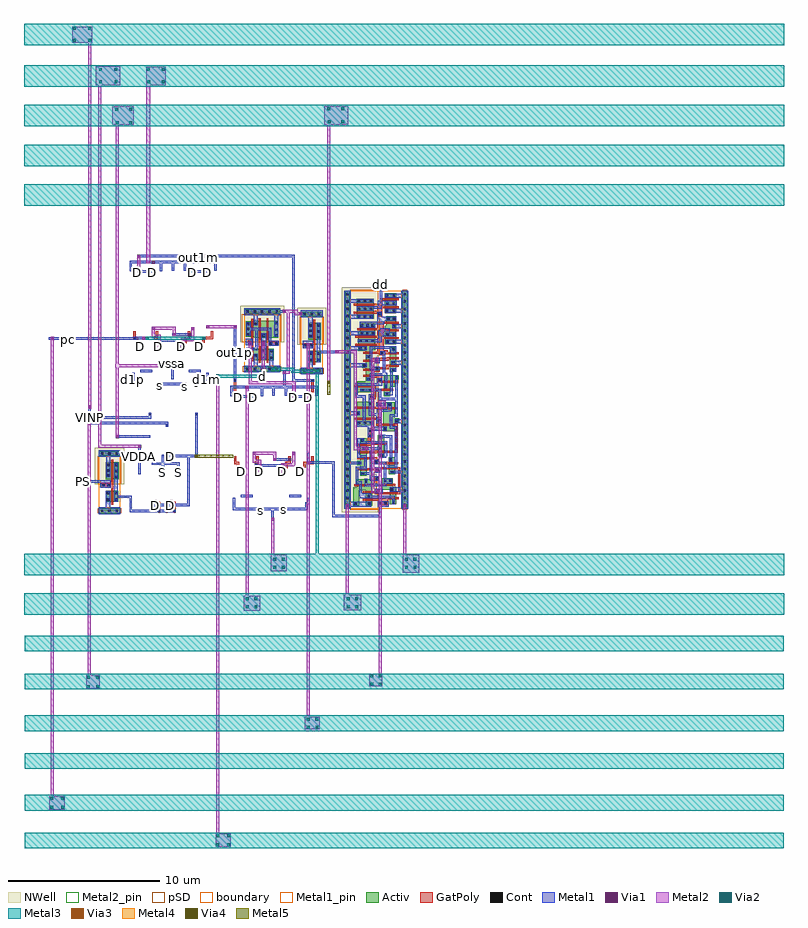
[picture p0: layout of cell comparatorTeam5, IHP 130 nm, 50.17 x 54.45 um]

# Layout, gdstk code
from math import pi, radians
import gdstk
lib = gdstk.Library(unit=1e-6, precision=1e-09)
def R(c, l, rs):  # rectangles x0, y0, x1, y1
    for r in rs: c.add(gdstk.rectangle(r[:2], r[2:], *l))
def A(c, l, x, y, w, h, nx, ny, dx, dy):  # array of equal rectangles
    R(c, l, [(x+i*dx, y+j*dy, x+i*dx+w, y+j*dy+h) for i in range(nx) for j in range(ny)])
def P(c, l, *ps):  # polygons
    for p in ps: c.add(gdstk.Polygon(p, *l))
Activ = (1, 0)
GatPoly = (5, 0)
Cont = (6, 0)
Metal1 = (8, 0)
Metal1_pin = (8, 2)
Metal2 = (10, 0)
Metal2_pin = (10, 2)
pSD = (14, 0)
Via1 = (19, 0)
Via2 = (29, 0)
Metal3 = (30, 0)
NWell = (31, 0)
Via3 = (49, 0)
Metal4 = (50, 0)
Via4 = (66, 0)
Metal5 = (67, 0)
boundary = (189, 4)

pmos = lib.new_cell('pmos')

sg13g2_buf_2 = lib.new_cell('sg13g2_buf_2')
R(sg13g2_buf_2, Activ, [(0,-0.15,2.4,0.15), (0,3.63,2.4,3.93)])
P(sg13g2_buf_2, Activ, [(0.445,0.59),(0.445,1.33),(2.275,1.33),(2.275,0.69),(1.735,0.69),(1.735,0.59)],
  [(0.13,2.06),(0.13,3.18),(1.735,3.18),(1.735,3.135),(2.275,3.135),(2.275,2.135),(1.735,2.135),(1.735,2.06)])
P(sg13g2_buf_2, GatPoly, [(0.785,0.41),(0.785,1.52),(0.105,1.52),(0.105,1.85),(0.785,1.85),(0.785,3.36),(0.915,3.36),(0.915,1.85),(1.295,1.85),(1.295,3.36),(1.425,3.36),(1.425,0.41),(1.295,0.41),(1.295,1.52),(0.915,1.52),(0.915,0.41)],
  [(1.805,0.51),(1.805,3.315),(1.935,3.315),(1.935,1.9),(2.155,1.9),(2.155,1.57),(1.935,1.57),(1.935,0.51)])
A(sg13g2_buf_2, Cont, 0.16, -0.08, 0.16, 0.16, 3, 1, 0.48, 0)
A(sg13g2_buf_2, Cont, 2.045, 2.205, 0.16, 0.16, 1, 3, 0, 0.34)
R(sg13g2_buf_2, Cont, [(0.16,-0.08,0.32,0.08), (1.12,-0.08,1.28,0.08), (1.6,-0.08,1.76,0.08), (1.6,-0.08,1.76,0.08), (2.08,-0.08,2.24,0.08), (2.08,-0.08,2.24,0.08), (0.515,0.66,0.675,0.82), (1.025,0.66,1.185,0.82), (2.045,0.76,2.205,0.92), (1.535,0.815,1.695,0.975), (0.515,1.095,0.675,1.255), (1.025,1.095,1.185,1.255), (2.045,1.1,2.205,1.26), (0.19,1.605,0.35,1.765), (0.53,1.605,0.69,1.765), (1.91,1.655,2.07,1.815), (1.025,2.13,1.185,2.29), (0.2,2.135,0.36,2.295), (0.2,2.51,0.36,2.67), (1.535,2.905,1.695,3.065), (0.2,2.945,0.36,3.105), (0.16,3.7,0.32,3.86), (0.16,3.7,0.32,3.86), (0.64,3.7,0.8,3.86), (0.64,3.7,0.8,3.86), (1.12,3.7,1.28,3.86), (1.12,3.7,1.28,3.86), (1.6,3.7,1.76,3.86), (1.6,3.7,1.76,3.86), (2.08,3.7,2.24,3.86), (2.08,3.7,2.24,3.86)])
R(sg13g2_buf_2, Metal1, [(0.945,0.635,1.275,2.37), (1.835,1.57,2.275,2)])
P(sg13g2_buf_2, Metal1, [(0,-0.22),(0,0.22),(0.465,0.22),(0.465,1.275),(0.725,1.275),(0.725,0.22),(1.485,0.22),(1.485,0.995),(1.745,0.995),(1.745,0.22),(2.4,0.22),(2.4,-0.22)],
  [(1.995,0.72),(1.995,1.23),(1.495,1.23),(1.495,2.55),(0.765,2.55),(0.765,1.52),(0.105,1.52),(0.105,1.85),(0.605,1.85),(0.605,2.71),(1.97,2.71),(1.97,3.1),(2.26,3.1),(2.26,2.18),(1.97,2.18),(1.97,2.55),(1.655,2.55),(1.655,1.39),(2.255,1.39),(2.255,0.72)],
  [(0.15,2.12),(0.15,3.56),(0,3.56),(0,4),(2.4,4),(2.4,3.56),(1.745,3.56),(1.745,2.895),(1.485,2.895),(1.485,3.56),(0.41,3.56),(0.41,2.12)])
R(sg13g2_buf_2, Metal1_pin, [(0,-0.22,2.4,0.22), (0.945,0.635,1.275,2.37), (1.835,1.57,2.275,2), (0,3.56,2.4,4)])
R(sg13g2_buf_2, pSD, [(-0.07,-0.18,2.47,0.18), (-0.07,1.76,2.56,3.6)])
R(sg13g2_buf_2, NWell, [(-0.24,1.75,2.64,4.17)])
R(sg13g2_buf_2, boundary, [(0,0,2.4,3.78)])
sg13g2_buf_2.add(gdstk.Label('A', (2.055,1.78), layer=8, texttype=25))
sg13g2_buf_2.add(gdstk.Label('X', (1.125,1.68), layer=8, texttype=25))
sg13g2_buf_2.add(gdstk.Label('VDD', (0.965,3.78), layer=8, texttype=25))
sg13g2_buf_2.add(gdstk.Label('VSS', (1.175,-0.005), layer=8, texttype=25))

nmos = lib.new_cell('nmos')

ptap_1 = lib.new_cell('ptap$1')

nmos_1 = lib.new_cell('nmos$1')

ntap1 = lib.new_cell('ntap1')

cmim_7 = lib.new_cell('cmim$7')

sg13g2_inv_1 = lib.new_cell('sg13g2_inv_1')
R(sg13g2_inv_1, Activ, [(0,-0.15,1.44,0.15), (0.475,0.59,1.305,1.33), (0.485,2.075,1.315,3.195), (0,3.63,1.44,3.93)])
P(sg13g2_inv_1, GatPoly, [(0.825,0.41),(0.825,1.52),(0.145,1.52),(0.145,1.85),(0.835,1.85),(0.835,3.375),(0.965,3.375),(0.965,1.52),(0.955,1.52),(0.955,0.41)])
A(sg13g2_inv_1, Cont, 0.56, 2.235, 0.16, 0.16, 1, 3, 0, 0.35)
R(sg13g2_inv_1, Cont, [(0.16,-0.08,0.32,0.08), (0.16,-0.08,0.32,0.08), (0.64,-0.08,0.8,0.08), (0.64,-0.08,0.8,0.08), (1.12,-0.08,1.28,0.08), (1.12,-0.08,1.28,0.08), (0.55,0.67,0.71,0.83), (1.07,0.67,1.23,0.83), (0.55,1.095,0.71,1.255), (1.07,1.095,1.23,1.255), (0.23,1.605,0.39,1.765), (0.585,1.605,0.745,1.765), (1.08,2.155,1.24,2.315), (1.08,2.54,1.24,2.7), (1.075,2.93,1.235,3.09), (0.16,3.7,0.32,3.86), (0.16,3.7,0.32,3.86), (0.64,3.7,0.8,3.86), (0.64,3.7,0.8,3.86), (1.12,3.7,1.28,3.86), (1.12,3.7,1.28,3.86)])
R(sg13g2_inv_1, Metal1, [(1.045,0.595,1.275,3.175), (0.125,1.52,0.815,2)])
P(sg13g2_inv_1, Metal1, [(0,-0.22),(0,0.22),(0.485,0.22),(0.485,1.295),(0.785,1.295),(0.785,0.22),(1.44,0.22),(1.44,-0.22)],
  [(0.505,2.205),(0.505,3.56),(0,3.56),(0,4),(1.44,4),(1.44,3.56),(0.78,3.56),(0.78,2.205)])
R(sg13g2_inv_1, Metal1_pin, [(0,-0.22,1.44,0.22), (1.045,0.595,1.275,3.175), (0.125,1.52,0.815,2), (0,3.56,1.44,4)])
R(sg13g2_inv_1, pSD, [(-0.07,-0.18,1.51,0.18), (-0.07,1.76,1.51,3.6)])
R(sg13g2_inv_1, NWell, [(-0.24,1.75,1.68,4.17)])
R(sg13g2_inv_1, boundary, [(0,0,1.44,3.78)])
sg13g2_inv_1.add(gdstk.Label('VDD', (0.705,3.78), layer=8, texttype=25))
sg13g2_inv_1.add(gdstk.Label('VSS', (0.72,-0.02), layer=8, texttype=25))
sg13g2_inv_1.add(gdstk.Label('A', (0.485,1.76), layer=8, texttype=25))
sg13g2_inv_1.add(gdstk.Label('Y', (1.17,1.69), layer=8, texttype=25))

pmos_1 = lib.new_cell('pmos$1')

sg13g2_dfrbp_2 = lib.new_cell('sg13g2_dfrbp_2')
R(sg13g2_dfrbp_2, Activ, [(0,-0.15,14.4,0.15), (9.03,0.57,10.66,0.99), (12.91,0.57,14.23,1.31), (2.28,0.635,3.4,1.055), (12.535,2.06,13.86,3.18), (0,3.63,14.4,3.93)])
P(sg13g2_dfrbp_2, Activ, [(0.19,2.16),(0.19,2.58),(1.24,2.58),(1.24,3.01),(0.19,3.01),(0.19,3.395),(1.415,3.395),(1.415,3.16),(1.96,3.16),(1.96,2.16)],
  [(0.3,0.57),(0.3,0.99),(1.245,0.99),(1.245,1.535),(2,1.535),(2,0.795),(1.445,0.795),(1.445,0.57)],
  [(2.19,2.525),(2.19,2.945),(2.88,2.945),(2.88,3.14),(3.18,3.14),(3.18,2.945),(4.645,2.945),(4.645,2.525)],
  [(3.365,1.36),(3.365,1.66),(3.475,1.66),(3.475,1.78),(3.905,1.78),(3.905,1.79),(4.145,1.79),(4.145,1.78),(4.86,1.78),(4.86,1.36)],
  [(5.53,2.05),(5.53,3.17),(6.075,3.17),(6.075,3.205),(6.53,3.205),(6.53,3.17),(7.07,3.17),(7.07,2.05)],
  [(5.68,0.365),(5.68,0.675),(5.135,0.675),(5.135,1.415),(7.045,1.415),(7.045,0.675),(5.98,0.675),(5.98,0.365)],
  [(8.52,0.39),(8.52,0.635),(8.06,0.635),(8.06,0.955),(7.445,0.955),(7.445,1.375),(8.82,1.375),(8.82,0.39)],
  [(10.47,1.96),(10.47,2.145),(7.695,2.145),(7.695,3.145),(8.415,3.145),(8.415,2.565),(9.31,2.565),(9.31,2.8),(9.61,2.8),(9.61,2.565),(10.43,2.565),(10.43,3.08),(11.715,3.08),(11.715,2.96),(12.26,2.96),(12.26,1.96)],
  [(10.87,0.57),(10.87,1.31),(12.08,1.31),(12.08,1.21),(12.7,1.21),(12.7,0.57)])
P(sg13g2_dfrbp_2, GatPoly, [(0.64,0.39),(0.64,1.1),(0.22,1.1),(0.22,1.77),(0.53,1.77),(0.53,2.76),(0.66,2.76),(0.66,2.085),(0.71,2.085),(0.71,1.25),(0.77,1.25),(0.77,0.39)],
  [(0.95,0.295),(0.95,1.98),(1.04,1.98),(1.04,2.76),(1.17,2.76),(1.17,1.98),(1.28,1.98),(1.28,1.65),(1.08,1.65),(1.08,0.43),(2.62,0.43),(2.62,1.645),(2.385,1.645),(2.385,1.975),(2.54,1.975),(2.54,3.125),(2.67,3.125),(2.67,1.975),(2.75,1.975),(2.75,0.295)],
  [(2.93,0.425),(2.93,1.25),(2.955,1.25),(2.955,1.715),(2.935,1.715),(2.935,2.045),(3.275,2.045),(3.275,3.125),(3.405,3.125),(3.405,1.83),(3.285,1.83),(3.285,1.715),(3.105,1.715),(3.105,1.13),(3.06,1.13),(3.06,0.425)],
  [(1.53,0.615),(1.53,1.67),(1.49,1.67),(1.49,3.34),(1.62,3.34),(1.62,2.085),(1.67,2.085),(1.67,2),(2.155,2),(2.155,1.67),(1.66,1.67),(1.66,0.615)],
  [(4.215,1.18),(4.215,2.29),(4.175,2.29),(4.175,3.125),(4.305,3.125),(4.305,2.44),(5.315,2.44),(5.315,2.11),(4.645,2.11),(4.645,2.29),(4.345,2.29),(4.345,1.18)],
  [(3.705,0.465),(3.705,1.855),(3.665,1.855),(3.665,3.125),(3.795,3.125),(3.795,2.005),(3.835,2.005),(3.835,0.605),(5.475,0.605),(5.475,1.87),(5.875,1.87),(5.875,3.35),(6.005,3.35),(6.005,1.87),(6.05,1.87),(6.05,1.54),(5.605,1.54),(5.605,0.465)],
  [(8.32,0.445),(8.32,1.625),(8.345,1.625),(8.345,1.805),(8.665,1.805),(8.665,2.07),(8.73,2.07),(8.73,2.745),(8.86,2.745),(8.86,1.475),(8.45,1.475),(8.45,0.445)],
  [(9.37,0.39),(9.37,1.065),(9.205,1.065),(9.205,1.655),(9.055,1.655),(9.055,1.985),(9.11,1.985),(9.11,2.745),(9.24,2.745),(9.24,1.985),(9.385,1.985),(9.385,1.655),(9.355,1.655),(9.355,1.215),(9.5,1.215),(9.5,0.39)],
  [(9.88,0.39),(9.88,1.06),(9.785,1.06),(9.785,1.65),(9.595,1.65),(9.595,1.98),(9.72,1.98),(9.72,2.745),(9.85,2.745),(9.85,2.07),(9.97,2.07),(9.97,1.195),(10.01,1.195),(10.01,0.39)],
  [(10.19,0.39),(10.19,1.33),(10.15,1.33),(10.15,1.635),(10.23,1.635),(10.23,2.745),(10.36,2.745),(10.36,1.8),(10.77,1.8),(10.77,3.26),(10.9,3.26),(10.9,1.8),(11.28,1.8),(11.28,3.26),(11.41,3.26),(11.41,1.8),(11.79,1.8),(11.79,3.14),(11.92,3.14),(11.92,1.8),(12.36,1.8),(12.36,0.39),(12.23,0.39),(12.23,1.385),(11.85,1.385),(11.85,0.39),(11.72,0.39),(11.72,1.385),(11.34,1.385),(11.34,0.39),(11.21,0.39),(11.21,1.385),(10.465,1.385),(10.465,1.135),(10.32,1.135),(10.32,0.39)],
  [(6.575,0.495),(6.575,1.69),(6.6,1.69),(6.6,3.35),(6.73,3.35),(6.73,1.87),(7.02,1.87),(7.02,1.54),(6.705,1.54),(6.705,0.495)],
  [(7.785,0.765),(7.785,1.92),(7.23,1.92),(7.23,2.37),(7.56,2.37),(7.56,2.07),(8.035,2.07),(8.035,3.325),(8.165,3.325),(8.165,1.92),(7.915,1.92),(7.915,0.765)],
  [(13.25,0.39),(13.25,1.5),(12.69,1.5),(12.69,1.83),(12.875,1.83),(12.875,3.36),(13.005,3.36),(13.005,1.965),(13.06,1.965),(13.06,1.83),(13.33,1.83),(13.33,1.965),(13.39,1.965),(13.39,3.36),(13.52,3.36),(13.52,1.65),(13.89,1.65),(13.89,0.39),(13.76,0.39),(13.76,1.5),(13.38,1.5),(13.38,0.39)])
A(sg13g2_dfrbp_2, Cont, 0.16, -0.08, 0.16, 0.16, 30, 2, 0.48, 3.78)
A(sg13g2_dfrbp_2, Cont, 10.94, 0.64, 0.16, 0.16, 5, 1, 0.51, 0)
A(sg13g2_dfrbp_2, Cont, 12.03, 2.04, 0.16, 0.16, 1, 3, 0, 0.345)
A(sg13g2_dfrbp_2, Cont, 12.605, 2.135, 0.16, 0.16, 1, 3, 0, 0.405)
A(sg13g2_dfrbp_2, Cont, 13.115, 2.135, 0.16, 0.16, 1, 3, 0, 0.405)
A(sg13g2_dfrbp_2, Cont, 13.63, 2.135, 0.16, 0.16, 1, 3, 0, 0.405)
R(sg13g2_dfrbp_2, Cont, [(5.75,0.445,5.91,0.605), (8.59,0.465,8.75,0.625), (13.49,0.645,13.65,0.805), (14,0.645,14.16,0.805), (0.37,0.675,0.53,0.835), (9.1,0.675,9.26,0.835), (9.61,0.675,9.77,0.835), (10.43,0.675,10.59,0.835), (2.35,0.735,2.51,0.895), (1.19,0.76,1.35,0.92), (3.17,0.825,3.33,0.985), (1.77,0.88,1.93,1.04), (6.815,0.92,6.975,1.08), (12.47,0.98,12.63,1.14), (10.94,1.055,11.1,1.215), (11.45,1.055,11.61,1.215), (13.49,1.07,13.65,1.23), (7.515,1.075,7.675,1.235), (14,1.075,14.16,1.235), (12.98,1.08,13.14,1.24), (8.025,1.145,8.185,1.305), (0.305,1.185,0.465,1.345), (5.205,1.185,5.365,1.345), (1.77,1.22,1.93,1.38), (10.22,1.405,10.38,1.565), (3.435,1.43,3.595,1.59), (4.63,1.49,4.79,1.65), (0.305,1.525,0.465,1.685), (3.945,1.56,4.105,1.72), (8.43,1.56,8.59,1.72), (12.775,1.585,12.935,1.745), (5.735,1.625,5.895,1.785), (6.775,1.625,6.935,1.785), (2.47,1.73,2.63,1.89), (1.035,1.735,1.195,1.895), (9.68,1.735,9.84,1.895), (9.14,1.74,9.3,1.9), (1.91,1.755,2.07,1.915), (3.01,1.8,3.17,1.96), (11.52,2.035,11.68,2.195), (11.01,2.055,11.17,2.215), (7.315,2.125,7.475,2.285), (5.6,2.135,5.76,2.295), (6.84,2.175,7,2.335), (4.73,2.195,4.89,2.355), (5.07,2.2,5.23,2.36), (7.765,2.215,7.925,2.375), (8.46,2.275,8.62,2.435), (9.96,2.285,10.12,2.445), (0.26,2.29,0.42,2.45), (0.77,2.295,0.93,2.455), (11.52,2.395,11.68,2.555), (11.01,2.455,11.17,2.615), (1.73,2.49,1.89,2.65), (10.5,2.495,10.66,2.655), (5.6,2.54,5.76,2.7), (9.38,2.565,9.54,2.725), (3.905,2.595,4.065,2.755), (2.26,2.69,2.42,2.85), (7.765,2.69,7.925,2.85), (4.415,2.705,4.575,2.865), (11.52,2.735,11.68,2.895), (10.5,2.835,10.66,2.995), (11.01,2.845,11.17,3.005), (2.95,2.91,3.11,3.07), (5.6,2.935,5.76,3.095), (6.22,2.97,6.38,3.13), (0.265,3.165,0.425,3.325)])
R(sg13g2_dfrbp_2, Metal1, [(0.125,1.07,0.5,1.77), (6.76,1.335,6.99,1.87), (1.025,1.45,1.315,1.98), (2.385,1.61,2.755,1.955), (9.595,1.65,9.985,1.97)])
P(sg13g2_dfrbp_2, Metal1, [(3.89,1.51),(3.89,2.145),(2.155,2.145),(2.155,1.67),(1.835,1.67),(1.835,2.305),(2.245,2.305),(2.245,2.9),(2.425,2.9),(2.425,2.315),(3.89,2.315),(3.89,2.805),(4.075,2.805),(4.075,1.81),(4.11,1.81),(4.11,1.51)],
  [(0,-0.22),(0,0.22),(1.14,0.22),(1.14,0.975),(1.41,0.975),(1.41,0.22),(2.345,0.22),(2.345,0.97),(2.515,0.97),(2.515,0.22),(5.635,0.22),(5.635,0.66),(5.91,0.66),(5.91,0.22),(9.51,0.22),(9.51,0.885),(9.77,0.885),(9.77,0.22),(10.91,0.22),(10.91,1.27),(11.155,1.27),(11.155,0.22),(11.91,0.22),(11.91,0.81),(12.17,0.81),(12.17,0.22),(12.93,0.22),(12.93,1.29),(13.19,1.29),(13.19,0.22),(13.935,0.22),(13.935,1.295),(14.21,1.295),(14.21,0.22),(14.4,0.22),(14.4,-0.22)],
  [(13.42,0.545),(13.42,1.515),(13.19,1.515),(13.19,2.04),(13.07,2.04),(13.07,3.175),(13.36,3.175),(13.36,1.775),(13.72,1.775),(13.72,0.545)],
  [(6.09,0.465),(6.09,0.84),(5.455,0.84),(5.455,0.485),(2.705,0.485),(2.705,1.215),(1.975,1.215),(1.975,0.815),(1.655,0.815),(1.655,1.215),(1.495,1.215),(1.495,2.655),(1.97,2.655),(1.97,2.485),(1.655,2.485),(1.655,1.385),(2.935,1.385),(2.935,1.965),(3.23,1.965),(3.23,1.755),(3.095,1.755),(3.095,1.215),(2.875,1.215),(2.875,0.645),(5.295,0.645),(5.295,1),(6.255,1),(6.255,0.625),(7.17,0.625),(7.17,1.725),(7.745,1.725),(7.745,2.925),(7.935,2.925),(7.935,1.555),(7.33,1.555),(7.33,0.625),(8.82,0.625),(8.82,0.465)],
  [(11.465,1.975),(11.465,3.56),(10.725,3.56),(10.725,2.495),(10.45,2.495),(10.45,3.56),(9.595,3.56),(9.595,2.505),(9.33,2.505),(9.33,3.56),(6.445,3.56),(6.445,2.955),(6.16,2.955),(6.16,3.56),(3.115,3.56),(3.115,2.86),(2.945,2.86),(2.945,3.56),(0.46,3.56),(0.46,2.215),(0.15,2.215),(0.15,3.56),(0,3.56),(0,4),(14.4,4),(14.4,3.56),(13.84,3.56),(13.84,2.06),(13.59,2.06),(13.59,3.56),(12.815,3.56),(12.815,2.07),(12.56,2.07),(12.56,3.56),(11.725,3.56),(11.725,1.975)],
  [(12.4,0.55),(12.4,1.355),(12.19,1.355),(12.19,1.94),(11.95,1.94),(11.95,2.98),(12.36,2.98),(12.36,1.83),(13,1.83),(13,1.515),(12.685,1.515),(12.685,0.55)],
  [(5.145,1.18),(5.145,2.11),(4.72,2.11),(4.72,2.44),(5.425,2.44),(5.425,3.18),(5.785,3.18),(5.785,2.77),(7.315,2.77),(7.315,3.265),(8.275,3.265),(8.275,1.805),(8.605,1.805),(8.605,1.5),(8.115,1.5),(8.115,3.105),(7.505,3.105),(7.505,2.59),(5.785,2.59),(5.785,2.06),(5.42,2.06),(5.42,1.18)],
  [(10.26,0.55),(10.26,0.945),(10.57,0.945),(10.57,2.15),(9.385,2.15),(9.385,1.655),(9.13,1.655),(9.13,2.32),(9.935,2.32),(9.935,2.555),(10.14,2.555),(10.14,2.31),(10.73,2.31),(10.73,0.55)],
  [(7.96,1.145),(7.96,1.315),(8.79,1.315),(8.79,2.125),(8.455,2.125),(8.455,2.5),(8.66,2.5),(8.66,2.295),(8.95,2.295),(8.95,1.465),(10.165,1.465),(10.165,1.625),(10.39,1.625),(10.39,1.275),(8.97,1.275),(8.97,1.145)],
  [(3.095,0.825),(3.095,1.01),(3.345,1.01),(3.345,0.99),(4.685,0.99),(4.685,1.44),(4.63,1.44),(4.63,1.7),(4.895,1.7),(4.895,1.3),(4.865,1.3),(4.865,0.83),(3.46,0.83),(3.46,0.825)],
  [(9.04,0.55),(9.04,0.805),(7.51,0.805),(7.51,1.31),(7.68,1.31),(7.68,0.965),(9.29,0.965),(9.29,0.55)],
  [(6.435,0.87),(6.435,1.075),(6.42,1.075),(6.42,1.54),(5.65,1.54),(5.65,1.87),(6.15,1.87),(6.15,2.37),(7.56,2.37),(7.56,2.055),(6.32,2.055),(6.32,1.845),(6.58,1.845),(6.58,1.155),(6.99,1.155),(6.99,0.87)],
  [(11.395,0.55),(11.395,1.52),(11,1.52),(11,3.1),(11.19,3.1),(11.19,1.74),(11.78,1.74),(11.78,1.61),(11.93,1.61),(11.93,0.99),(11.66,0.99),(11.66,0.55)],
  [(0.315,0.645),(0.315,0.84),(0.685,0.84),(0.685,2.935),(0.84,2.935),(0.84,2.995),(1.63,2.995),(1.63,3.24),(2.765,3.24),(2.765,2.68),(3.365,2.68),(3.365,3.145),(4.645,3.145),(4.645,2.685),(4.45,2.685),(4.45,1.17),(3.465,1.17),(3.465,1.225),(3.385,1.225),(3.385,1.64),(3.645,1.64),(3.645,1.33),(4.29,1.33),(4.29,2.985),(3.535,2.985),(3.535,2.52),(2.605,2.52),(2.605,3.08),(1.815,3.08),(1.815,2.835),(1.01,2.835),(1.01,2.2),(0.845,2.2),(0.845,0.645)])
R(sg13g2_dfrbp_2, Metal1_pin, [(0,-0.22,14.4,0.22), (13.42,0.545,13.72,1.775), (11.395,0.99,11.93,1.61), (0.125,1.07,0.5,1.77), (0,3.56,14.4,4)])
R(sg13g2_dfrbp_2, Metal2, [(6.65,1.24,7.12,1.745)])
P(sg13g2_dfrbp_2, Metal2, [(1.075,1.58),(1.075,2.2),(9.93,2.2),(9.93,1.735),(9.64,1.735),(9.64,2),(2.72,2),(2.72,1.705),(2.43,1.705),(2.43,2),(1.275,2),(1.275,1.58)])
R(sg13g2_dfrbp_2, Metal2_pin, [(6.65,1.24,7.12,1.745), (2.96,2,4.485,2.2)])
R(sg13g2_dfrbp_2, pSD, [(-0.07,-0.18,14.47,0.18)])
P(sg13g2_dfrbp_2, pSD, [(10.17,1.66),(10.17,1.76),(7.245,1.76),(7.245,1.75),(5.35,1.75),(5.35,2.225),(2.14,2.225),(2.14,1.835),(0.945,1.835),(0.945,1.76),(-0.07,1.76),(-0.07,3.6),(14.47,3.6),(14.47,1.76),(12.56,1.76),(12.56,1.66)])
R(sg13g2_dfrbp_2, Via1, [(6.78,1.515,6.97,1.705), (1.08,1.66,1.27,1.85), (2.48,1.755,2.67,1.945), (9.69,1.77,9.88,1.96)])
P(sg13g2_dfrbp_2, NWell, [(10.095,1.65),(10.095,1.835),(7.315,1.835),(7.315,1.74),(5.22,1.74),(5.22,2.215),(2.27,2.215),(2.27,1.85),(0.935,1.85),(0.935,1.75),(-0.24,1.75),(-0.24,4.17),(14.64,4.17),(14.64,1.75),(12.57,1.75),(12.57,1.65)])
R(sg13g2_dfrbp_2, boundary, [(0,0,14.4,3.78)])
sg13g2_dfrbp_2.add(gdstk.Label('VSS', (6.77,0), layer=8, texttype=25))
sg13g2_dfrbp_2.add(gdstk.Label('RESET_B', (3.935,2.1), layer=10, texttype=25))
sg13g2_dfrbp_2.add(gdstk.Label('CLK', (6.89,1.455), layer=10, texttype=25))
sg13g2_dfrbp_2.add(gdstk.Label('VDD', (7.205,3.768), layer=8, texttype=1))
sg13g2_dfrbp_2.add(gdstk.Label('Q', (13.565,1.17), layer=8, texttype=1))
sg13g2_dfrbp_2.add(gdstk.Label('Q_N', (11.66,1.295), layer=8, texttype=1))
sg13g2_dfrbp_2.add(gdstk.Label('D', (0.325,1.53), layer=8, texttype=1))

comparatorteam5 = lib.new_cell('comparatorTeam5')
R(comparatorteam5, GatPoly, [(0.82,-1.165,0.95,-0.44), (1.33,-1.165,1.46,-0.44), (1.845,-1.165,1.975,-0.44), (10.928,2.08,11.088,2.57), (5.818,6.785,5.978,7.655), (10.92,6.785,11.08,7.635), (4.278,10.33,4.438,10.82)])
P(comparatorteam5, GatPoly, [(9.418,2.04),(9.418,2.55),(9.495,2.55),(9.578,2.55),(9.578,2.125),(9.578,2.04),(9.5,2.04)],
  [(2.768,10.29),(2.768,10.8),(2.845,10.8),(2.928,10.8),(2.928,10.375),(2.928,10.29),(2.85,10.29)],
  [(9.215,2.04),(9.215,2.11),(9.215,2.2),(9.575,2.2),(9.575,2.155),(9.575,2.04)],
  [(2.565,10.29),(2.565,10.36),(2.565,10.45),(2.925,10.45),(2.925,10.405),(2.925,10.29)],
  [(10.395,2.028),(10.395,2.115),(10.395,2.188),(11.08,2.188),(11.08,2.028)],
  [(3.745,10.278),(3.745,10.365),(3.745,10.438),(4.43,10.438),(4.43,10.278)],
  [(10.393,1.795),(10.393,2.19),(10.48,2.19),(10.553,2.19),(10.553,1.795),(10.47,1.795)],
  [(3.743,10.045),(3.743,10.44),(3.83,10.44),(3.903,10.44),(3.903,10.045),(3.82,10.045)],
  [(9.21,1.78),(9.21,2.19),(9.29,2.19),(9.37,2.19),(9.37,1.78)],
  [(2.56,10.03),(2.56,10.44),(2.64,10.44),(2.72,10.44),(2.72,10.03)])
R(comparatorteam5, Cont, [(0.8,-1.123,0.96,-0.963), (1.32,-1.123,1.48,-0.963), (1.825,-1.123,1.985,-0.963), (7.2,1.893,7.36,2.053), (9.428,2.27,9.588,2.43), (1.32,4.515,1.48,4.675), (0.195,5.265,0.355,5.425), (3.27,5.265,3.43,5.425), (3.225,7.163,3.385,7.323), (5.818,7.48,5.978,7.64), (10.92,7.48,11.08,7.64), (0.55,10.143,0.71,10.303), (3.745,10.273,3.905,10.433), (-0.778,10.283,-0.618,10.443), (2.778,10.52,2.938,10.68)])
R(comparatorteam5, Metal1, [(8.293,-1.66,8.453,-0.85), (12.323,-1.46,12.483,2.23), (12.33,-1.448,15.565,-1.288), (15.403,-1.445,15.563,-0.455), (0.55,-0.77,0.71,-0.31), (1.57,-0.77,1.73,-0.31), (-3.83,0.803,-2.775,0.963), (-0.485,1.36,-0.325,3.295), (1.063,1.515,1.223,2.15), (7.195,1.883,9.145,2.043), (0.385,1.99,1.215,2.15), (1.065,1.993,2.245,2.153), (10.66,2.083,12.49,2.243), (10.655,2.12,10.815,2.795), (8.41,2.27,9.595,2.43), (3.268,2.49,3.428,5.435), (2.755,2.493,3.42,2.653), (1.6,2.5,2.895,2.66), (-1.97,3.783,0.295,3.943), (1.315,4.52,1.475,4.82), (-3.84,4.67,1.48,4.83), (-3.813,5.025,-3.623,5.91), (-3.81,5.03,0.34,5.19), (6.09,6.44,7.205,6.6), (9.69,6.44,10.805,6.6), (5.578,6.53,5.738,7.19), (7.578,6.53,7.738,7.19), (8.353,6.555,8.513,7.215), (9.163,6.555,9.323,7.215), (11.178,6.555,11.338,7.215), (5.59,7.053,11.33,7.213), (9.073,7.075,9.233,8.215), (0.875,7.24,2.665,7.4), (5.818,7.475,5.978,11.19), (9.655,7.49,11.11,7.65), (1.683,7.635,1.843,8.625), (0.545,10.133,2.495,10.293), (3.725,10.253,3.925,10.453), (-6.39,10.27,-0.59,10.43), (-0.81,10.28,-0.055,10.44), (1.76,10.52,2.945,10.68), (10.15,11.903,11.06,12.063), (7.835,12.043,9.22,12.203), (15.46,12.583,16.02,12.743), (15.46,12.585,15.62,14.025), (-0.56,14.69,0.555,14.85), (3.04,14.69,4.155,14.85), (-1.072,14.78,-0.912,15.44), (0.928,14.78,1.088,15.44), (1.703,14.805,1.863,15.465), (2.513,14.805,2.673,15.465), (4.528,14.805,4.688,15.465), (-1.06,15.303,4.68,15.463)])
P(comparatorteam5, Metal1, [(7.525,-1.01),(7.525,-0.85),(10.675,-0.85),(10.675,-0.96),(10.675,-1.01)],
  [(-0.545,15.695),(-0.545,15.855),(9.83,15.855),(9.83,15.775),(9.83,15.695)],
  [(11.3,9.37),(11.3,9.445),(11.3,9.53),(12.73,9.53),(12.73,9.37)],
  [(2.743,-0.71),(2.743,2.655),(2.815,2.655),(2.903,2.655),(2.903,-0.71)],
  [(1.058,2.015),(1.058,2.66),(1.19,2.66),(1.218,2.66),(1.218,2.015)],
  [(1.583,2.49),(1.583,2.66),(1.665,2.66),(1.743,2.66),(1.743,2.49)],
  [(2.083,1.515),(2.083,2.15),(2.243,2.15),(2.243,2.065),(2.243,1.515)],
  [(5.76,-1.005),(5.76,-0.935),(5.76,-0.845),(7.73,-0.845),(7.73,-1.005)],
  [(0.565,-0.732),(0.565,-0.572),(2.895,-0.572),(2.895,-0.67),(2.895,-0.732)],
  [(-0.89,7.245),(-0.89,7.315),(-0.89,7.405),(-0.35,7.405),(-0.35,7.245)],
  [(6.28,-0.142),(6.28,-0.07),(6.28,0.018),(7.075,0.018),(7.075,-0.142)],
  [(9.48,-0.142),(9.48,-0.07),(9.48,0.018),(10.275,0.018),(10.275,-0.142)],
  [(-0.37,8.108),(-0.37,8.18),(-0.37,8.268),(0.425,8.268),(0.425,8.108)],
  [(2.83,8.108),(2.83,8.18),(2.83,8.268),(3.625,8.268),(3.625,8.108)],
  [(5.747,-1.01),(5.747,-0.185),(5.907,-0.185),(5.907,-1.01),(5.845,-1.01)],
  [(-0.903,7.24),(-0.903,8.065),(-0.743,8.065),(-0.743,7.24),(-0.805,7.24)],
  [(0.195,5.035),(0.195,5.435),(0.355,5.435),(0.355,5.035),(0.29,5.035)],
  [(9.673,7.49),(9.673,15.845),(9.75,15.845),(9.833,15.845),(9.833,7.49)],
  [(2.96,0.38),(2.96,0.38),(2.96,0.38),(2.96,0.38)],
  [(9.6,1.15),(9.6,1.15),(9.6,1.15),(9.6,1.15)],
  [(1.245,2.435),(1.245,2.435),(1.245,2.435),(1.245,2.435)],
  [(5.44,3.395),(5.44,3.395),(5.44,3.395),(5.44,3.395)],
  [(7.25,6.605),(7.25,6.605),(7.25,6.605),(7.25,6.605)],
  [(2.95,9.4),(2.95,9.4),(2.95,9.4),(2.95,9.4)],
  [(-1.21,11.645),(-1.21,11.645),(-1.21,11.645),(-1.21,11.645)],
  [(0.6,14.855),(0.6,14.855),(0.6,14.855),(0.6,14.855)])
R(comparatorteam5, Metal2, [(9.658,1.89,9.858,2.845), (8.418,2.255,8.618,2.865), (3.243,2.478,3.443,2.678), (13.725,2.97,13.925,9.565), (-3.15,3.115,-0.32,3.315), (-1.975,3.775,-1.775,8.635), (9.683,6.435,9.883,7.475), (7.655,7.795,7.855,10.07), (9.298,8.01,9.498,12.215), (9.055,8.013,9.49,8.213), (11.208,8.085,11.408,8.285), (8.308,8.21,8.508,8.41), (12.51,9.358,13.915,9.558), (3.008,10.14,3.208,11.095), (-0.25,10.255,0.18,10.455), (3.725,10.255,3.925,10.455), (1.768,10.505,1.968,11.115), (9.825,11.883,10.305,12.083), (9.045,12.023,10.025,12.223)])
P(comparatorteam5, Metal2, [(-0.558,14.675),(-0.558,15.83),(-0.465,15.83),(-0.358,15.83),(-0.358,14.675)],
  [(8.95,1.89),(8.95,2.09),(9.85,2.09),(9.85,1.995),(9.85,1.89),(9.765,1.89)],
  [(2.3,10.14),(2.3,10.34),(3.2,10.34),(3.2,10.245),(3.2,10.14),(3.115,10.14)],
  [(-3.138,3.12),(-3.138,27.06),(-3.295,27.06),(-3.295,28.295),(-1.685,28.295),(-1.685,27.06),(-2.938,27.06),(-2.938,3.12)],
  [(16.95,-5.13),(16.95,-3.95),(16.99,-3.95),(16.99,-0.615),(17.19,-0.615),(17.19,-3.95),(18.055,-3.95),(18.055,-5.13)],
  [(6.81,7.305),(6.81,7.39),(6.81,7.505),(9.875,7.505),(9.875,7.305)],
  [(13.77,2.975),(13.77,3.175),(14.67,3.175),(14.67,3.09),(14.67,2.975)],
  [(6.475,-7.635),(6.475,-6.655),(6.583,-6.655),(6.583,7.22),(6.783,7.22),(6.783,-6.655),(7.57,-6.655),(7.57,-7.635)],
  [(-3.815,5.715),(-3.815,29.87),(-4.855,29.87),(-4.855,30.925),(-3.53,30.925),(-3.53,29.87),(-3.615,29.87),(-3.615,5.715)],
  [(4.025,11.01),(4.025,11.085),(4.025,11.21),(6,11.21),(6,11.01)],
  [(10.49,-15.46),(10.49,-14.63),(10.625,-14.63),(10.625,10.03),(10.825,10.03),(10.825,-14.63),(11.49,-14.63),(11.49,-15.46)],
  [(11.98,7.36),(11.98,24.455),(11.765,24.455),(11.765,25.665),(13.35,25.665),(13.35,24.455),(12.18,24.455),(12.18,7.36)],
  [(-2.01,8.435),(-2.01,8.53),(-2.01,8.635),(1.865,8.635),(1.865,8.435)],
  [(8.235,-5.02),(8.235,-3.935),(8.273,-3.935),(8.273,-1.5),(8.473,-1.5),(8.473,-3.935),(9.32,-3.935),(9.32,-5.02)],
  [(-1.998,8.45),(-1.998,24.435),(-2.205,24.435),(-2.205,25.66),(-0.785,25.66),(-0.785,24.435),(-1.798,24.435),(-1.798,8.45)],
  [(0.035,15.315),(0.035,28.29),(0.03,28.29),(1.305,28.29),(1.305,27.06),(0.285,27.06),(0.285,15.315)],
  [(-6.38,-20.76),(-6.38,-19.865),(-6.273,-19.865),(-6.273,10.445),(-6.073,10.445),(-6.073,-19.865),(-5.345,-19.865),(-5.345,-20.76)],
  [(-3.93,-12.775),(-3.93,-11.88),(-3.823,-11.88),(-3.823,4.84),(-3.623,4.84),(-3.623,-11.88),(-3.045,-11.88),(-3.045,-12.775)],
  [(13.075,-7.61),(13.075,-6.565),(13.198,-6.565),(13.198,-0.59),(13.398,-0.59),(13.398,-6.565),(14.225,-6.565),(14.225,-7.61)],
  [(8.945,1.45),(8.945,2.08),(9.145,2.08),(9.145,1.45),(9.03,1.45)],
  [(2.295,9.7),(2.295,10.33),(2.495,10.33),(2.495,9.7),(2.38,9.7)],
  [(9.823,11.885),(9.823,12.22),(10.023,12.22),(10.023,12.165),(10.023,11.885)],
  [(6.8,7.315),(6.8,10.135),(7,10.135),(7,7.315),(6.905,7.315)],
  [(7.05,2.663),(7.05,2.863),(8.515,2.863),(8.62,2.863),(8.62,2.75),(8.62,2.663)],
  [(0.4,10.913),(0.4,11.113),(1.865,11.113),(1.97,11.113),(1.97,11),(1.97,10.913)],
  [(14.76,-12.61),(14.76,-12.31),(14.76,-11.81),(15.383,-11.81),(15.383,5.98),(15.583,5.98),(15.583,-11.81),(15.595,-11.81),(15.595,-12.61),(15.29,-12.61)],
  [(4.61,-23.2),(4.61,-22.355),(4.658,-22.355),(4.658,7.95),(4.858,7.95),(4.858,-22.355),(5.6,-22.355),(5.6,-23.2)])
R(comparatorteam5, Via1, [(8.28,-1.688,8.47,-1.498), (13.19,-0.805,13.38,-0.615), (16.99,-0.805,17.18,-0.615), (-3.815,0.788,-3.625,0.978), (8.94,1.453,9.13,1.643), (7.43,1.508,7.62,1.698), (3.243,2.485,3.433,2.675), (9.66,2.653,9.85,2.843), (7.05,2.658,7.24,2.848), (14.48,2.98,14.67,3.17), (-0.503,3.125,-0.313,3.315), (-1.973,3.765,-1.783,3.955), (-3.815,4.658,-3.625,4.848), (-3.815,5.728,-3.625,5.918), (9.688,6.425,9.878,6.615), (6.58,7.03,6.77,7.22), (9.058,8.025,9.248,8.215), (11.208,8.1,11.398,8.29), (8.308,8.225,8.498,8.415), (1.668,8.43,1.858,8.62), (12.533,9.363,12.723,9.553), (2.29,9.703,2.48,9.893), (0.78,9.758,0.97,9.948), (10.628,9.83,10.818,10.02), (7.673,9.885,7.863,10.075), (6.805,9.955,6.995,10.145), (-6.283,10.253,-6.093,10.443), (3.728,10.258,3.918,10.448), (-0.24,10.263,-0.05,10.453), (3.01,10.903,3.2,11.093), (0.4,10.908,0.59,11.098), (5.805,11.005,5.995,11.195), (3.998,11.018,4.188,11.208), (10.133,11.888,10.323,12.078), (9.038,12.025,9.228,12.215), (-0.565,14.675,-0.375,14.865), (0.395,15.285,0.585,15.475), (-0.555,15.675,-0.365,15.865)])
P(comparatorteam5, Via1, [(8.948,1.875),(8.948,2.065),(9.138,2.065),(9.138,1.94),(9.138,1.875)],
  [(9.413,2.25),(9.413,2.44),(9.603,2.44),(9.603,2.315),(9.603,2.25)],
  [(8.418,2.255),(8.418,2.445),(8.608,2.445),(8.608,2.32),(8.608,2.255)],
  [(2.298,10.125),(2.298,10.315),(2.488,10.315),(2.488,10.19),(2.488,10.125)],
  [(2.763,10.5),(2.763,10.69),(2.953,10.69),(2.953,10.565),(2.953,10.5)],
  [(1.768,10.505),(1.768,10.695),(1.958,10.695),(1.958,10.57),(1.958,10.505)],
  [(10.195,12.065),(10.195,12.065),(10.195,12.065),(10.195,12.065)])
R(comparatorteam5, Via2, [(4.645,-23.18,4.835,-22.99), (5.375,-23.18,5.565,-22.99), (4.65,-22.58,4.84,-22.39), (5.375,-22.58,5.565,-22.39), (-6.305,-20.705,-6.115,-20.515), (-5.575,-20.705,-5.385,-20.515), (-6.3,-20.105,-6.11,-19.915), (-5.575,-20.105,-5.385,-19.915), (10.638,-15.413,10.828,-15.223), (11.203,-15.413,11.393,-15.223), (10.638,-14.888,10.828,-14.698), (11.193,-14.888,11.383,-14.698), (-3.885,-12.73,-3.695,-12.54), (-3.275,-12.73,-3.085,-12.54), (14.813,-12.563,15.003,-12.373), (15.378,-12.563,15.568,-12.373), (-3.875,-12.13,-3.685,-11.94), (-3.275,-12.13,-3.085,-11.94), (14.813,-12.038,15.003,-11.848), (15.368,-12.038,15.558,-11.848), (6.613,-7.463,6.803,-7.273), (7.178,-7.463,7.368,-7.273), (13.263,-7.463,13.453,-7.273), (13.828,-7.463,14.018,-7.273), (6.613,-6.938,6.803,-6.748), (7.168,-6.938,7.358,-6.748), (13.263,-6.938,13.453,-6.748), (13.818,-6.938,14.008,-6.748), (8.413,-4.863,8.603,-4.673), (8.978,-4.863,9.168,-4.673), (17.113,-4.863,17.303,-4.673), (17.678,-4.863,17.868,-4.673), (8.413,-4.338,8.603,-4.148), (8.968,-4.338,9.158,-4.148), (17.113,-4.338,17.303,-4.148), (17.668,-4.338,17.858,-4.148), (3.243,2.483,3.433,2.673), (11.978,7.363,12.168,7.553), (4.665,7.77,4.855,7.96), (7.665,7.77,7.855,7.96), (11.213,8.093,11.403,8.283), (8.313,8.218,8.503,8.408), (3.73,10.258,3.92,10.448), (-0.005,10.265,0.185,10.455), (-1.987,24.495,-1.797,24.685), (-1.087,24.495,-0.897,24.685), (12.013,24.545,12.203,24.735), (12.913,24.545,13.103,24.735), (-2.012,25.37,-1.822,25.56), (-1.087,25.37,-0.897,25.56), (11.988,25.42,12.178,25.61), (12.913,25.42,13.103,25.61), (-3.087,27.195,-2.897,27.385), (-2.062,27.195,-1.872,27.385), (0.088,27.195,0.278,27.385), (1.063,27.195,1.253,27.385), (-3.087,27.995,-2.897,28.185), (-2.087,27.995,-1.897,28.185), (0.063,27.995,0.253,28.185), (1.063,27.995,1.253,28.185), (-4.812,29.92,-4.622,30.11), (-3.787,29.92,-3.597,30.11), (-4.812,30.72,-4.622,30.91), (-3.812,30.72,-3.622,30.91)])
R(comparatorteam5, Metal3, [(-7.995,-23.325,42.105,-22.28), (-7.995,-20.825,42.105,-19.78), (-7.995,-18.075,42.105,-17.03), (-7.995,-15.575,42.105,-14.53), (-7.995,-12.825,42.105,-11.78), (-7.995,-10.325,42.105,-9.28), (-8.04,-7.9,42.13,-6.475), (11.22,-4.335,11.42,8.285), (3.245,2.475,3.445,2.675), (11.975,7.363,12.175,7.563), (4.68,7.758,7.865,7.958), (9.62,8.08,11.44,8.28), (9.615,8.085,9.815,8.41), (8.31,8.21,9.795,8.41), (-8.04,19.1,42.13,20.525), (-8.04,21.7,42.13,23.125), (-8.04,24.35,42.13,25.775), (-8.04,26.95,42.13,28.375), (-8.04,29.7,42.13,31.125)])
P(comparatorteam5, Metal3, [(-0.015,10.26),(-0.015,10.46),(3.92,10.46),(3.92,10.335),(3.92,10.26)],
  [(-8.04,-5.3),(-8.04,-3.875),(29.315,-3.875),(42.13,-3.875),(42.13,-5.3)],
  [(12.04,7.56),(12.04,7.56),(12.04,7.56),(12.04,7.56)])
R(comparatorteam5, Via3, [(3.245,2.483,3.435,2.673), (11.98,7.365,12.17,7.555)])
R(comparatorteam5, Metal4, [(3.245,2.475,3.445,2.675), (11.975,7.36,12.175,7.56)])
R(comparatorteam5, Via4, [(3.25,2.483,3.44,2.673), (11.987,7.362,12.177,7.552)])
R(comparatorteam5, Metal5, [(3.235,2.478,5.775,2.678), (11.973,6.635,12.173,7.56)])
comparatorteam5.add(gdstk.FlexPath([(-2.06,-0.11),(-0.995,-0.11),(-0.995,-1.045),(1.91,-1.045),(1.91,-0.965)], 0.16, ends="flush", simple_path=True, layer=8, datatype=0))  # Metal1
comparatorteam5.add(gdstk.FlexPath([(3.945,7.285),(3.945,7.71),(4.08,7.71),(4.08,8.06)], 0.16, ends="flush", simple_path=True, layer=8, datatype=0))  # Metal1
comparatorteam5.add(gdstk.FlexPath([(10.595,-1.015),(10.595,-0.965),(10.595,-0.54),(10.73,-0.54),(10.73,-0.19)], 0.16, ends="flush", simple_path=True, layer=8, datatype=0))  # Metal1
comparatorteam5.add(gdstk.FlexPath([(6.085,1.795),(6.085,1.845),(6.085,2.125),(5.905,2.125),(5.905,2.565)], 0.16, ends="flush", simple_path=True, layer=5, datatype=0))  # GatPoly
comparatorteam5.add(gdstk.FlexPath([(-0.565,10.045),(-0.565,10.095),(-0.565,10.375),(-0.745,10.375),(-0.745,10.815)], 0.16, ends="flush", simple_path=True, layer=5, datatype=0))  # GatPoly
comparatorteam5.add(gdstk.FlexPath([(7.275,1.695),(7.275,2.16),(7.38,2.16),(7.38,2.52),(7.38,2.525),(7.38,2.56)], 0.16, ends="flush", simple_path=True, layer=5, datatype=0))  # GatPoly
comparatorteam5.add(gdstk.FlexPath([(0.625,9.945),(0.625,10.41),(0.73,10.41),(0.73,10.77),(0.73,10.775),(0.73,10.81)], 0.16, ends="flush", simple_path=True, layer=5, datatype=0))  # GatPoly
comparatorteam5.add(gdstk.FlexPath([(7.525,1.5),(7.525,2.225),(7.145,2.225),(7.145,2.76),(7.145,2.86)], 0.2, ends="flush", simple_path=True, layer=10, datatype=0))  # Metal2
comparatorteam5.add(gdstk.FlexPath([(0.875,9.75),(0.875,10.475),(0.495,10.475),(0.495,11.01),(0.495,11.11)], 0.2, ends="flush", simple_path=True, layer=10, datatype=0))  # Metal2
comparatorteam5.add(gdstk.Reference(pmos, (5.495,2.655)))
comparatorteam5.add(gdstk.Reference(pmos, (6.995,2.655)))
comparatorteam5.add(gdstk.Reference(pmos, (9.095,2.655)))
comparatorteam5.add(gdstk.Reference(pmos, (10.595,2.655)))
comparatorteam5.add(gdstk.Reference(pmos, (-1.155,10.905)))
comparatorteam5.add(gdstk.Reference(pmos, (0.345,10.905)))
comparatorteam5.add(gdstk.Reference(pmos, (2.445,10.905)))
comparatorteam5.add(gdstk.Reference(pmos, (3.945,10.905)))
comparatorteam5.add(gdstk.Reference(sg13g2_buf_2, (8.885,8.325), rotation=pi, x_reflection=True))
comparatorteam5.add(gdstk.Reference(nmos, (-0.58,5.395)))
comparatorteam5.add(gdstk.Reference(nmos, (2.42,5.395)))
comparatorteam5.add(gdstk.Reference(ptap_1, (7.995,-1.09)))
comparatorteam5.add(gdstk.Reference(ptap_1, (-0.045,3.385)))
comparatorteam5.add(gdstk.Reference(ptap_1, (8.045,6.16)))
comparatorteam5.add(gdstk.Reference(ptap_1, (1.345,7.16)))
comparatorteam5.add(gdstk.Reference(ptap_1, (1.395,14.41)))
comparatorteam5.add(gdstk.Reference(nmos_1, (5.685,-0.3)))
comparatorteam5.add(gdstk.Reference(nmos_1, (6.87,-0.3)))
comparatorteam5.add(gdstk.Reference(nmos_1, (8.885,-0.3)))
comparatorteam5.add(gdstk.Reference(nmos_1, (10.07,-0.3)))
comparatorteam5.add(gdstk.Reference(nmos_1, (0.995,2.49)))
comparatorteam5.add(gdstk.Reference(nmos_1, (-0.965,7.95)))
comparatorteam5.add(gdstk.Reference(nmos_1, (0.22,7.95)))
comparatorteam5.add(gdstk.Reference(nmos_1, (2.235,7.95)))
comparatorteam5.add(gdstk.Reference(nmos_1, (3.42,7.95)))
comparatorteam5.add(gdstk.Reference(ntap1, (-0.785,0.92)))
comparatorteam5.add(gdstk.Reference(cmim_7, (5.18,-0.625)))
comparatorteam5.add(gdstk.Reference(sg13g2_inv_1, (-3.115,-1.035)))
comparatorteam5.add(gdstk.Reference(sg13g2_inv_1, (10.235,8.185)))
comparatorteam5.add(gdstk.Reference(pmos_1, (0.48,-0.37)))
comparatorteam5.add(gdstk.Reference(sg13g2_dfrbp_2, (17.095,-0.905), rotation=pi/2))
comparatorteam5.add(gdstk.Label('d1m', (4,7.655), layer=8, texttype=0))
comparatorteam5.add(gdstk.Label('d1p', (-0.86,7.625), layer=8, texttype=0))
comparatorteam5.add(gdstk.Label('d2p', (-0.045,8.145), layer=8, texttype=0))
comparatorteam5.add(gdstk.Label('D', (1.635,-0.675), layer=8, texttype=0))
comparatorteam5.add(gdstk.Label('D', (0.625,-0.665), layer=8, texttype=0))
comparatorteam5.add(gdstk.Label('D', (6.305,1.54), layer=8, texttype=0))
comparatorteam5.add(gdstk.Label('D', (9.025,1.54), layer=8, texttype=0))
comparatorteam5.add(gdstk.Label('D', (7.5,1.555), layer=8, texttype=0))
comparatorteam5.add(gdstk.Label('D', (10.195,1.555), layer=8, texttype=0))
comparatorteam5.add(gdstk.Label('D', (1.635,2.525), layer=8, texttype=0))
comparatorteam5.add(gdstk.Label('D', (6.095,6.445), layer=8, texttype=0))
comparatorteam5.add(gdstk.Label('D', (7.1,6.445), layer=8, texttype=0))
comparatorteam5.add(gdstk.Label('D', (9.74,6.445), layer=8, texttype=0))
comparatorteam5.add(gdstk.Label('D', (10.72,6.445), layer=8, texttype=0))
comparatorteam5.add(gdstk.Label('D', (3.92,7.215), layer=8, texttype=0))
comparatorteam5.add(gdstk.Label('D', (-0.45,7.265), layer=8, texttype=0))
comparatorteam5.add(gdstk.Label('D', (-0.345,9.79), layer=8, texttype=0))
comparatorteam5.add(gdstk.Label('D', (2.375,9.79), layer=8, texttype=0))
comparatorteam5.add(gdstk.Label('D', (0.85,9.805), layer=8, texttype=0))
comparatorteam5.add(gdstk.Label('D', (3.545,9.805), layer=8, texttype=0))
comparatorteam5.add(gdstk.Label('D', (-0.555,14.695), layer=8, texttype=0))
comparatorteam5.add(gdstk.Label('D', (0.45,14.695), layer=8, texttype=0))
comparatorteam5.add(gdstk.Label('D', (3.09,14.695), layer=8, texttype=0))
comparatorteam5.add(gdstk.Label('D', (4.07,14.695), layer=8, texttype=0))
comparatorteam5.add(gdstk.Label('S', (2.135,1.515), layer=8, texttype=0))
comparatorteam5.add(gdstk.Label('S', (1.11,1.52), layer=8, texttype=0))
comparatorteam5.add(gdstk.Label('S', (5.8,1.545), layer=8, texttype=0))
comparatorteam5.add(gdstk.Label('S', (9.535,1.545), layer=8, texttype=0))
comparatorteam5.add(gdstk.Label('S', (6.975,1.555), layer=8, texttype=0))
comparatorteam5.add(gdstk.Label('S', (10.71,1.555), layer=8, texttype=0))
comparatorteam5.add(gdstk.Label('S', (1.115,2.525), layer=8, texttype=0))
comparatorteam5.add(gdstk.Label('S', (-0.85,9.795), layer=8, texttype=0))
comparatorteam5.add(gdstk.Label('S', (2.885,9.795), layer=8, texttype=0))
comparatorteam5.add(gdstk.Label('S', (0.325,9.805), layer=8, texttype=0))
comparatorteam5.add(gdstk.Label('S', (4.06,9.805), layer=8, texttype=0))
comparatorteam5.add(gdstk.Label('psb', (0.16,-1.04), layer=8, texttype=0))
comparatorteam5.add(gdstk.Label('s', (7.57,-0.995), layer=8, texttype=0))
comparatorteam5.add(gdstk.Label('s', (9.105,-0.95), layer=8, texttype=0))
comparatorteam5.add(gdstk.Label('s', (2.555,7.175), layer=8, texttype=0))
comparatorteam5.add(gdstk.Label('s', (0.92,7.255), layer=8, texttype=0))
comparatorteam5.add(gdstk.Label('d2m', (3.155,8.145), layer=8, texttype=0))
comparatorteam5.add(gdstk.Label('dd', (15.515,13.91), layer=30, texttype=0))
comparatorteam5.add(gdstk.Label('p1', (-12.81,-12.505), layer=30, texttype=0))
comparatorteam5.add(gdstk.Label('vss', (8.355,-1.51), layer=30, texttype=0))
comparatorteam5.add(gdstk.Label('out1p', (5.868,9.413), layer=30, texttype=0))
comparatorteam5.add(gdstk.Label('VINM', (0.205,2.13), layer=30, texttype=0))
comparatorteam5.add(gdstk.Label('vssa', (1.705,8.665), layer=30, texttype=0))
comparatorteam5.add(gdstk.Label('d', (-12.47,-23.875), layer=30, texttype=0))
comparatorteam5.add(gdstk.Label('d', (7.735,7.81), layer=30, texttype=0))
comparatorteam5.add(gdstk.Label('vdda', (1.5,15.375), layer=30, texttype=0))
comparatorteam5.add(gdstk.Label('p1e', (-12.96,-9.995), layer=30, texttype=0))
comparatorteam5.add(gdstk.Label('p2e', (-12.74,-18.26), layer=30, texttype=0))
comparatorteam5.add(gdstk.Label('VDDA', (-0.45,2.55), layer=30, texttype=0))
comparatorteam5.add(gdstk.Label('VDDA', (-11.95,26.885), layer=30, texttype=0))
comparatorteam5.add(gdstk.Label('VSS', (-12.875,-5.335), layer=30, texttype=0))
comparatorteam5.add(gdstk.Label('VINP', (-3.705,5.095), layer=30, texttype=0))
comparatorteam5.add(gdstk.Label('res', (-12.94,-14.935), layer=30, texttype=0))
comparatorteam5.add(gdstk.Label('p2', (-12.65,-21.29), layer=30, texttype=0))
comparatorteam5.add(gdstk.Label('VHI', (-11.95,21.69), layer=30, texttype=0))
comparatorteam5.add(gdstk.Label('VL0', (-11.73,19.165), layer=30, texttype=0))
comparatorteam5.add(gdstk.Label('PS', (-4.12,0.87), layer=30, texttype=0))
comparatorteam5.add(gdstk.Label('PS', (-4.32,4.42), layer=30, texttype=0))
comparatorteam5.add(gdstk.Label('out1m', (3.475,15.71), layer=30, texttype=0))
comparatorteam5.add(gdstk.Label('pc', (-5.075,10.29), layer=30, texttype=0))
comparatorteam5.add(gdstk.Label('VSSA', (-11.73,24.29), layer=30, texttype=0))
comparatorteam5.add(gdstk.Label('VDD', (-13.105,-8.235), layer=30, texttype=0))
comparatorteam5.add(gdstk.Label('VDD', (7.995,7.085), layer=30, texttype=0))
comparatorteam5.add(gdstk.Label('Vinp', (-12.025,29.71), layer=30, texttype=0))

lib.write_gds('comparatorTeam5.gds')
